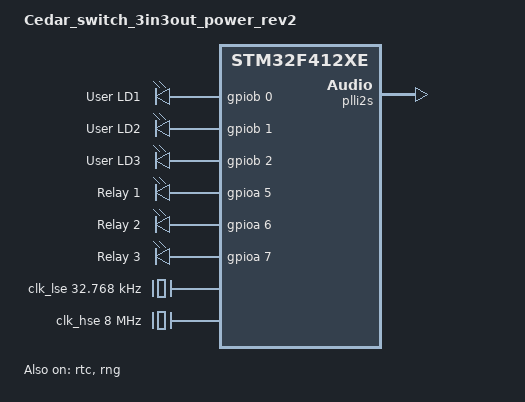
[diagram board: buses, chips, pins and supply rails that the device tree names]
/*
 * Copyright (c) 2017 Powersoft
 *
 * SPDX-License-Identifier: Apache-2.0
 */

/dts-v1/;
#include <st/f4/stm32f412Xe.dtsi>
#include <st/f4/stm32f412c(e-g)ux-pinctrl.dtsi>
#include <zephyr/dt-bindings/input/input-event-codes.h>

/ {
	model = "Сedar_switch_3in3out_power_rev2";
	compatible = "st,cedar_switch_3in3out_power_rev2";

	chosen {
//		zephyr,console = &usart2;
//		zephyr,shell-uart = &usart2;
		zephyr,sram = &sram0;
		zephyr,flash = &flash0;
	};

	leds {
		compatible = "gpio-leds";

		green_led_1: led_1 {
			gpios = <&gpiob 0 GPIO_ACTIVE_HIGH>;
			label = "User LD1";
		};

		orange_led_2: led_2 {
			gpios = <&gpiob 1 GPIO_ACTIVE_HIGH>;
			label = "User LD2";
		};

		red_led_3: led_3 {
			gpios = <&gpiob 2 GPIO_ACTIVE_HIGH>;
			label = "User LD3";
		};

		relay_ac1: relay_1{
			gpios = <&gpioa 5 GPIO_ACTIVE_HIGH>;
			label = "Relay 1";
		};

		relay_ac2: relay_2{
			gpios = <&gpioa 6 GPIO_ACTIVE_HIGH>;
			label = "Relay 2";
		};

		relay_ac3: relay_3{
			gpios = <&gpioa 7 GPIO_ACTIVE_HIGH>;
			label = "Relay 3";
		};
	};

//	gpio_keys {
//		compatible = "gpio-keys";
//
//		joy_sel: joystick_selection {
//			label = "joystick selection";
//			gpios = <&gpioa 0 (GPIO_ACTIVE_HIGH | GPIO_PULL_DOWN)>;
//			zephyr,code = <INPUT_KEY_ENTER>;
//		};
//
//		joy_down: joystick_down {
//			label = "joystick down";
//			gpios = <&gpiog 1 (GPIO_ACTIVE_HIGH | GPIO_PULL_DOWN)>;
//			zephyr,code = <INPUT_KEY_DOWN>;
//		};
//
//		joy_up: joystick_up {
//			label = "joystick up";
//			gpios = <&gpiog 0 (GPIO_ACTIVE_HIGH | GPIO_PULL_DOWN)>;
//			zephyr,code = <INPUT_KEY_UP>;
//		};
//
//		joy_left: joystick_left {
//			label = "joystick left";
//			gpios = <&gpiof 15 (GPIO_ACTIVE_HIGH | GPIO_PULL_DOWN)>;
//			zephyr,code = <INPUT_KEY_LEFT>;
//		};
//
//		joy_right: joystick_right {
//			label = "joystick right";
//			gpios = <&gpiof 14 (GPIO_ACTIVE_HIGH | GPIO_PULL_DOWN)>;
//			zephyr,code = <INPUT_KEY_RIGHT>;
//		};
//	};

	aliases {
		led0 = &green_led_1;
		led1 = &orange_led_2;
		led2 = &red_led_3;

		relay1 = &relay_ac1;
		relay2 = &relay_ac2;
		relay3 = &relay_ac3;
	};
};

&clk_lsi {
	status = "okay";
};

&clk_lse {
	clock-frequency = <32768>;
	status = "okay";
};

&clk_hse {
//	hse-bypass;
	clock-frequency = <DT_FREQ_M(8)>; /* STLink 8MHz clock */
	status = "okay";
};

&pll {
	div-m = <4>;
	mul-n = <100>;
	div-p = <2>;
	div-q = <8>;
	clocks = <&clk_hse>;
	status = "okay";
};

&plli2s {
	status = "okay";
	div-m = <4>;
	mul-n = <96>;
	div-q = <4>;
	div-r = <6>;
};

&rcc {
	status = "okay";
	clocks = <&pll>;
	clock-frequency = <DT_FREQ_M(100)>;
	ahb-prescaler = <1>;
	apb1-prescaler = <2>;
	apb2-prescaler = <1>;
};


&clk48 {
	compatible = "st,stm32-clock-mux";
	clocks = <&rcc STM32_SRC_PLLI2S_Q CK48M_SEL(1)>;
	status = "okay";
};

&rtc {
	clocks = <&rcc STM32_SRC_LSE RTC_SEL(1)>;
	status = "okay";
};

&rng {
	status = "okay";
};

//&usart2 {
//	pinctrl-0 = <&usart2_tx_pa2 &usart2_rx_pa3>;
//	pinctrl-names = "default";
//	current-speed = <115200>;
//	status = "okay";
//};

//&usart6 {
//	pinctrl-0 = <&usart6_tx_pg14 &usart6_rx_pg9>;
//	pinctrl-names = "default";
//	current-speed = <115200>;
//	status = "okay";
//};

//&i2c2 {
//	pinctrl-0 = <&i2c2_scl_pb10 &i2c2_sda_pb9>;
//	pinctrl-names = "default";
//	clock-frequency = <I2C_BITRATE_FAST>;
//	status = "okay";
//};

//&spi1 {
//	pinctrl-0 = <&spi1_nss_pa15 &spi1_sck_pa5
//		     &spi1_miso_pa6 &spi1_mosi_pa7>;
//	pinctrl-names = "default";
//	status = "okay";
//};
